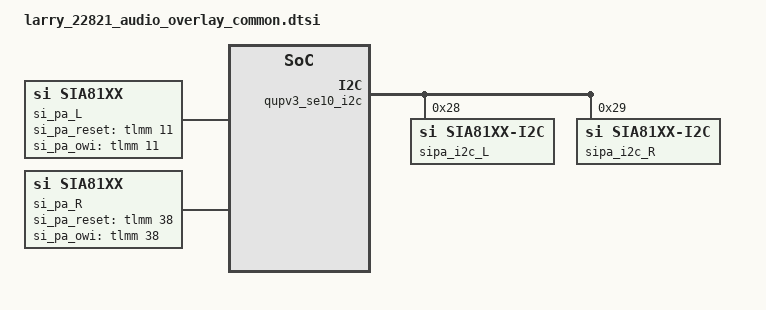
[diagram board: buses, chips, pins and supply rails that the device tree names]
/* #ifdef OPLUS_ARCH_EXTENDS */
&tlmm {
	sia81xx_gpio_L: sia81xx_gpio_L {
		mux {
			pins = "gpio11", "gpio11";
			function = "gpio";
		};

		config {
			pins = "gpio11", "gpio11";
			drive-strength = <6>;
			bias-disable;
		};
	};
	sia81xx_gpio_R: sia81xx_gpio_R {
		mux {
			pins = "gpio38", "gpio38";
			function = "gpio";
		};

		config {
			pins = "gpio38", "gpio38";
			drive-strength = <6>;
			bias-disable;
		};
	};
};

&soc {
	si_pa_L: si_pa_L {
			compatible = "si,sia81xx";
			si,si_pa_type = "sia8159";
			si,si_pa_reset = <&tlmm 11 0x00>;
			si,si_pa_owi = <&tlmm 11 0x00>;
			pinctrl-names = "si_pa_gpio";
			pinctrl-0 = <&sia81xx_gpio_L>;

			si,si_pa_disable_pin = <1>;

			/* the same value share a same task
			 * valid value range : 0 ~ 7 */
			timer_task_hdl = <0>;

			channel_num = <0>;
			owi_mode = <6>;
	};

	si_pa_R: si_pa_R {
			compatible = "si,sia81xx";
			si,si_pa_type = "sia8159";
			si,si_pa_reset = <&tlmm 38 0x00>;
			si,si_pa_owi = <&tlmm 38 0x00>;
			pinctrl-names = "sia81xx_gpio";
			pinctrl-0 = <&sia81xx_gpio_R>;

			si,si_pa_disable_pin = <1>;

			/* the same value share a same task
			 * valid value range : 0 ~ 7 */
			timer_task_hdl = <0>;

			channel_num = <1>;
			owi_mode = <6>;
	};
};

&holi_snd {
		si,sia81xx-max-num = <2>;
		si,sia81xx-aux-devs = <&si_pa_L>, <&si_pa_R>;
		si,sia81xx-aux-devs-prefix = "SpkrMonoL", "SpkrMonoR";
};

&qupv3_se10_i2c {
	status = "ok";
	qcom,clk-freq-out = <400000>;
	sipa_i2c_L: sipa_i2c_L@28 {
		compatible = "si,sia81xx-i2c";
		reg = <0x28>;
		si,sipa-dev = <&si_pa_L>;
	};
	sipa_i2c_R: sipa_i2c_R@29 {
		compatible = "si,sia81xx-i2c";
		reg = <0x29>;
		si,sipa-dev = <&si_pa_R>;
	};
};
/* OPLUS_ARCH_EXTENDS */
